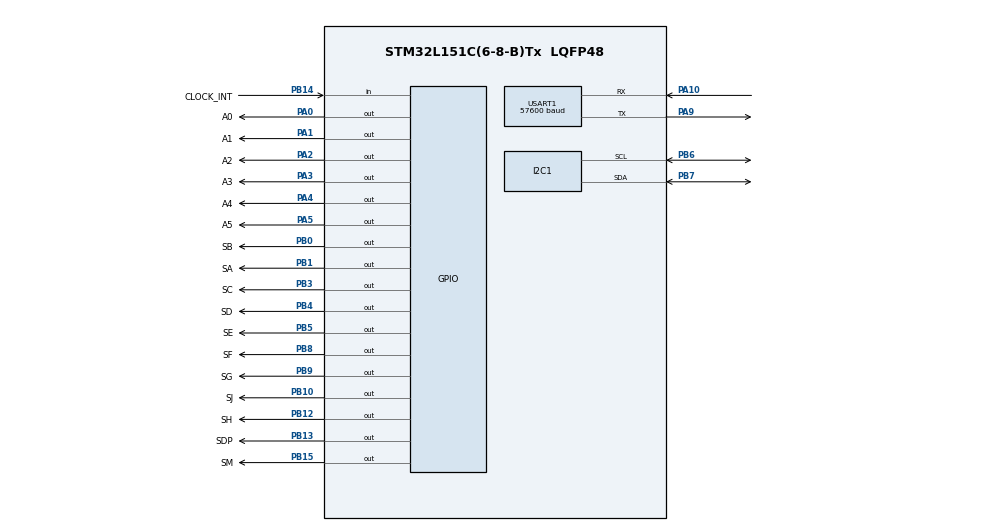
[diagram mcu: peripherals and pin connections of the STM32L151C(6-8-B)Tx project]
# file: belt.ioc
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FREERTOS.INCLUDE_vTaskDelayUntil=1
FREERTOS.Tasks01=defaultTask,0,128,StartDefaultTask,Default,NULL,Dynamic,NULL,NULL
FREERTOS.configTIMER_QUEUE_LENGTH=5
FREERTOS.configUSE_TIMERS=1
I2C1.I2C_Mode=I2C_Fast
Mcu.Family=STM32L1
Mcu.Name=STM32L151C(6-8-B)Tx
Mcu.Package=LQFP48
NVIC.PriorityGroup=NVIC_PRIORITYGROUP_4
NVIC.TIM6_IRQn=true\:15\:0\:false\:false\:true\:false\:false\:true\:true
NVIC.TimeBase=TIM6_IRQn
NVIC.TimeBaseIP=TIM6
NVIC.USART1_IRQn=true\:5\:0\:false\:false\:true\:true\:true\:true\:true
PA0-WKUP1.GPIO_Label=A0
PA0-WKUP1.Signal=GPIO_Output
PA1.GPIO_Label=A1
PA1.Signal=GPIO_Output
PA10.Mode=Asynchronous
PA10.Signal=USART1_RX
PA13.Mode=Serial_Wire
PA13.Signal=SYS_JTMS-SWDIO
PA14.Mode=Serial_Wire
PA14.Signal=SYS_JTCK-SWCLK
PA2.GPIO_Label=A2
PA2.Signal=GPIO_Output
PA3.GPIO_Label=A3
PA3.Signal=GPIO_Output
PA4.GPIO_Label=A4
PA4.Signal=GPIO_Output
PA5.GPIO_Label=A5
PA5.Signal=GPIO_Output
PA9.Mode=Asynchronous
PA9.Signal=USART1_TX
PB0.GPIO_Label=SB
PB0.Signal=GPIO_Output
PB1.GPIO_Label=SA
PB1.Signal=GPIO_Output
PB10.GPIO_Label=SJ
PB10.Signal=GPIO_Output
PB12.GPIO_Label=SH
PB12.Signal=GPIO_Output
PB13.GPIO_Label=SDP
PB13.Signal=GPIO_Output
PB14.GPIO_Label=CLOCK_INT
PB14.Signal=GPIO_Input
PB15.GPIO_Label=SM
PB15.Signal=GPIO_Output
PB3.GPIO_Label=SC
PB3.Signal=GPIO_Output
PB4.GPIO_Label=SD
PB4.Signal=GPIO_Output
PB5.GPIO_Label=SE
PB5.Signal=GPIO_Output
PB6.Mode=I2C
PB6.Signal=I2C1_SCL
PB7.Mode=I2C
PB7.Signal=I2C1_SDA
PB8.GPIO_Label=SF
PB8.Signal=GPIO_Output
PB9.GPIO_Label=SG
PB9.Signal=GPIO_Output
PH0-OSC_IN.Mode=HSE-External-Oscillator
PH0-OSC_IN.Signal=RCC_OSC_IN
PH1-OSC_OUT.Mode=HSE-External-Oscillator
PH1-OSC_OUT.Signal=RCC_OSC_OUT
ProjectManager.HeapSize=0x200
ProjectManager.StackSize=0x400
ProjectManager.TargetToolchain=Makefile
RCC.48MHZClocksFreq_Value=48000000
RCC.AHBFreq_Value=32000000
RCC.APB1Freq_Value=32000000
RCC.APB1TimFreq_Value=32000000
RCC.APB2Freq_Value=32000000
RCC.APB2TimFreq_Value=32000000
RCC.HCLKFreq_Value=32000000
RCC.HSE_VALUE=8000000
RCC.HSI_VALUE=16000000
RCC.LSE_VALUE=32768
RCC.MSI_VALUE=2097000
RCC.PLLDIV=RCC_PLL_DIV3
RCC.PLLMUL=RCC_PLL_MUL12
RCC.PLLSourceVirtual=RCC_PLLSOURCE_HSE
RCC.SYSCLKFreq_VALUE=32000000
RCC.SYSCLKSource=RCC_SYSCLKSOURCE_PLLCLK
RCC.VCOOutputFreq_Value=96000000
TIM7.Period=1000
TIM7.Prescaler=31
TIM7.TIM_MasterOutputTrigger=TIM_TRGO_RESET
USART1.BaudRate=57600
USART1.VirtualMode=VM_ASYNC
VP_FREERTOS_VS_CMSIS_V1.Mode=CMSIS_V1
VP_SYS_VS_tim6.Mode=TIM6
VP_TIM7_VS_ClockSourceINT.Mode=Enable_Timer
board=custom

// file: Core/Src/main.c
/* USER CODE BEGIN Header */
/**
  ******************************************************************************
  * @file           : main.c
  * @brief          : Main program body
  ******************************************************************************
  * @attention
  *
  * Copyright (c) 2025 STMicroelectronics.
  * All rights reserved.
  *
  * This software is licensed under terms that can be found in the LICENSE file
  * in the root directory of this software component.
  * If no LICENSE file comes with this software, it is provided AS-IS.
  *
  ******************************************************************************
  */
/* USER CODE END Header */
#include "main.h"
#include "cmsis_os.h"
#include "i2c.h"
#include "tim.h"
#include "usart.h"
#include "gpio.h"

/* USER CODE BEGIN Includes */
#include "LED_display.h"
#include "rtc.h"
#include "time_protocol.h"
#include <stdio.h>
/* USER CODE END Includes */

/* USER CODE BEGIN PD */
#define LED_DELAY 1000
/* USER CODE END PD */

void SystemClock_Config(void);
void MX_FREERTOS_Init(void);

int main(void)
{

  /* MCU Configuration--------------------------------------------------------*/

  /* Reset of all peripherals, Initializes the Flash interface and the Systick. */
  HAL_Init();

  /* Configure the system clock */
  SystemClock_Config();

  /* Initialize all configured peripherals */
  MX_GPIO_Init();
  MX_I2C1_Init();
  MX_TIM7_Init();
  MX_USART1_UART_Init();
  /* USER CODE BEGIN 2 */
  UARTbuf_init ();
  /* USER CODE END 2 */

  /* Call init function for freertos objects (in cmsis_os2.c) */
  MX_FREERTOS_Init();

  /* Start scheduler */
  osKernelStart();

  /* We should never get here as control is now taken by the scheduler */

  /* Infinite loop */
  while (1)
  {

  }
}

void SystemClock_Config(void)
{

  LL_FLASH_Enable64bitAccess();

  LL_FLASH_SetLatency(LL_FLASH_LATENCY_1);
  while(LL_FLASH_GetLatency()!= LL_FLASH_LATENCY_1)
  {
  }
  LL_PWR_SetRegulVoltageScaling(LL_PWR_REGU_VOLTAGE_SCALE1);
  while (LL_PWR_IsActiveFlag_VOS() != 0)
  {
  }
  LL_RCC_HSE_Enable();

   /* Wait till HSE is ready */
  while(LL_RCC_HSE_IsReady() != 1)
  {

  }
  LL_RCC_PLL_ConfigDomain_SYS(LL_RCC_PLLSOURCE_HSE, LL_RCC_PLL_MUL_12, LL_RCC_PLL_DIV_3);
  LL_RCC_PLL_Enable();

   /* Wait till PLL is ready */
  while(LL_RCC_PLL_IsReady() != 1)
  {

  }
  LL_RCC_SetAHBPrescaler(LL_RCC_SYSCLK_DIV_1);
  LL_RCC_SetAPB1Prescaler(LL_RCC_APB1_DIV_1);
  LL_RCC_SetAPB2Prescaler(LL_RCC_APB2_DIV_1);
  LL_RCC_SetSysClkSource(LL_RCC_SYS_CLKSOURCE_PLL);

   /* Wait till System clock is ready */
  while(LL_RCC_GetSysClkSource() != LL_RCC_SYS_CLKSOURCE_STATUS_PLL)
  {

  }
  LL_SetSystemCoreClock(32000000);

   /* Update the time base */
  if (HAL_InitTick (TICK_INT_PRIORITY) != HAL_OK)
  {
    Error_Handler();
  }
}

void HAL_TIM_PeriodElapsedCallback(TIM_HandleTypeDef *htim)
{
  if (htim->Instance == TIM6) {
    HAL_IncTick();
  }
}

void Error_Handler(void)
{
  __disable_irq();
  while (1)
  {
  }
}

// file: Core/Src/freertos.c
/* USER CODE BEGIN Header */
/**
  ******************************************************************************
  * File Name          : freertos.c
  * Description        : Code for freertos applications
  ******************************************************************************
  * @attention
  *
  * Copyright (c) 2025 STMicroelectronics.
  * All rights reserved.
  *
  * This software is licensed under terms that can be found in the LICENSE file
  * in the root directory of this software component.
  * If no LICENSE file comes with this software, it is provided AS-IS.
  *
  ******************************************************************************
  */
/* USER CODE END Header */

#include "FreeRTOS.h"
#include "task.h"
#include "main.h"
#include "cmsis_os.h"

/* USER CODE BEGIN Includes */
#include "rtc.h"
#include "typedef.h"
#include "usart.h"
#include "LED_display.h"
#include "time_protocol.h"
#include <stdio.h>
/* USER CODE END Includes */

/* USER CODE BEGIN Variables */
osTimerId osProgTimerI2C_timeout;

osThreadId MessagingDS3231TaskHandle;
osThreadId SetupTimeonBoardTaskHandle;
osThreadId ParseUARTmsgTaskHandle;

osMutexId I2CmutexHandle; //мьютекс блокировки передачи команд ячейкам

uint8_t timeout_flag = OFF;
__IO uint32_t UNIXtimeDS3231 = 0;
/* USER CODE END Variables */
osThreadId defaultTaskHandle;

/* USER CODE BEGIN FunctionPrototypes */
void ProgTimerI2C_timeoutCallback (void const *argument);

void SetupTimeonBoard(void const * argument);
void LaunchMessagingDS3231 (void const * argument);
void ParseUARTmsg  (void const * argument);
/* USER CODE END FunctionPrototypes */

void StartDefaultTask(void const * argument);

void MX_FREERTOS_Init(void); /* (MISRA C 2004 rule 8.1) */

/* GetIdleTaskMemory prototype (linked to static allocation support) */
void vApplicationGetIdleTaskMemory( StaticTask_t **ppxIdleTaskTCBBuffer, StackType_t **ppxIdleTaskStackBuffer, uint32_t *pulIdleTaskStackSize );

/* GetTimerTaskMemory prototype (linked to static allocation support) */
void vApplicationGetTimerTaskMemory( StaticTask_t **ppxTimerTaskTCBBuffer, StackType_t **ppxTimerTaskStackBuffer, uint32_t *pulTimerTaskStackSize );

/* USER CODE BEGIN GET_IDLE_TASK_MEMORY */
static StaticTask_t xIdleTaskTCBBuffer;
static StackType_t xIdleStack[configMINIMAL_STACK_SIZE];

void vApplicationGetIdleTaskMemory( StaticTask_t **ppxIdleTaskTCBBuffer, StackType_t **ppxIdleTaskStackBuffer, uint32_t *pulIdleTaskStackSize )
{
  *ppxIdleTaskTCBBuffer = &xIdleTaskTCBBuffer;
  *ppxIdleTaskStackBuffer = &xIdleStack[0];
  *pulIdleTaskStackSize = configMINIMAL_STACK_SIZE;
  /* place for user code */
}
/* USER CODE END GET_IDLE_TASK_MEMORY */

/* USER CODE BEGIN GET_TIMER_TASK_MEMORY */
static StaticTask_t xTimerTaskTCBBuffer;
static StackType_t xTimerStack[configTIMER_TASK_STACK_DEPTH];

void vApplicationGetTimerTaskMemory( StaticTask_t **ppxTimerTaskTCBBuffer, StackType_t **ppxTimerTaskStackBuffer, uint32_t *pulTimerTaskStackSize )
{
  *ppxTimerTaskTCBBuffer = &xTimerTaskTCBBuffer;
  *ppxTimerTaskStackBuffer = &xTimerStack[0];
  *pulTimerTaskStackSize = configTIMER_TASK_STACK_DEPTH;
  /* place for user code */
}
/* USER CODE END GET_TIMER_TASK_MEMORY */

void MX_FREERTOS_Init(void) {

  /* USER CODE BEGIN RTOS_MUTEX */
  osMutexDef (I2CmutexHandle);
	I2CmutexHandle = osMutexCreate(osMutex (I2CmutexHandle));
  /* USER CODE END RTOS_MUTEX */

  /* USER CODE BEGIN RTOS_TIMERS */
  osTimerDef (TimerI2C_timeout, ProgTimerI2C_timeoutCallback);
	osProgTimerI2C_timeout = osTimerCreate(osTimer (TimerI2C_timeout), osTimerOnce, NULL);
  /* USER CODE END RTOS_TIMERS */

  /* Create the thread(s) */
  /* definition and creation of defaultTask */
  osThreadDef(defaultTask, StartDefaultTask, osPriorityIdle, 0, 128);
  defaultTaskHandle = osThreadCreate(osThread(defaultTask), NULL);

  /* USER CODE BEGIN RTOS_THREADS */

  osThreadDef(TaskSetupTimeonBoard, SetupTimeonBoard, osPriorityNormal , 0, 128);
  SetupTimeonBoardTaskHandle = osThreadCreate(osThread(TaskSetupTimeonBoard), NULL);

  osThreadDef(TaskMessagingDS3231, LaunchMessagingDS3231, osPriorityNormal , 0, 128);
  MessagingDS3231TaskHandle = osThreadCreate(osThread(TaskMessagingDS3231), NULL);

  osThreadDef(TaskParseUARTmsg, ParseUARTmsg, osPriorityNormal , 0, 128);
  ParseUARTmsgTaskHandle = osThreadCreate(osThread(TaskParseUARTmsg), NULL);
  /* USER CODE END RTOS_THREADS */

}

void StartDefaultTask(void const * argument)
{
  /* USER CODE BEGIN StartDefaultTask */
  /* Infinite loop */
  for(;;)
  {
    osDelay(100);
  }
  /* USER CODE END StartDefaultTask */
}

/* USER CODE BEGIN Application */
//---------------------------------------------------------------------------//
void LaunchMessagingDS3231 (void const * argument)
{
  uint32_t tickcount = osKernelSysTick();

  for(;;)
  {
    if (osMutexWait (I2CmutexHandle, 20) == osOK)
		{
        timeout_flag = OFF;
        osTimerStart (osProgTimerI2C_timeout, I2C_DELAY);
        UNIXtimeDS3231 = GetUnixTime_from_DS3231();
        osMutexRelease (I2CmutexHandle);
        osDelayUntil (&tickcount, 1000);
    }
  }
}

//---------------------------------------------------------------------------//
void SetupTimeonBoard (void const * argument)
{
  for(;;)
  {
    if (UNIXtimeDS3231 > 0)
    {
      LED_data_output ((char *)return_HandleTimeBuff(), NUMB_DIGITS_BOARD);
    }
    osDelay (3);
  }
}

//---------------------------------------------------------------------------//
void ParseUARTmsg (void const * argument)
{
  __IO uint32_t TimeUART = 0;
  static uint8_t flagGetMsg = NO_MSG;

  for(;;)
  {
    if (flagGetMsg == NO_MSG)
    {
      if (check_ring_buffer () == GET_MSG) //проверка кольцевого буффера
      {
        if ((TimeUART = return_UNIXtimeNTP()) > 0) //возвращает UNIX-время, полученное от ntp сервера
        {
          //если UNIX-время от ntp-сервера не равно времени от DS3231 и отличается больше, чем на единицу
          if ((UNIXtimeDS3231 != TimeUART) && ((TimeUART-UNIXtimeDS3231)>1))
          {

            #ifdef __USE_DBG
	 	        //  snprintf (DBG_buffer,  BUFFER_SIZE, "DS3231=%ld,NTP=%ld\r\n", UNIXtimeDS3231, TimeUART);
      	    //  DBG_PutString(DBG_buffer);
	          #endif
            flagGetMsg = GET_MSG; //установка флага получения сообщения с данными времени от ntp-сервера
          }
        }
      }
      osDelay (3);
    }
    else
    {
      if (osMutexWait (I2CmutexHandle, 20) == osOK)
		  {
        flagGetMsg = NO_MSG;
        timeout_flag = OFF; //сброс флага таймаута I2C
        osTimerStart (osProgTimerI2C_timeout, I2C_DELAY); //запуск таймера таймаута I2C
        PrepareSendTimedata_to_DS3231(TimeUART); //подготовка и передача данных времени в DS3231
        osMutexRelease (I2CmutexHandle); //освобождение мьютекса
        osDelay (1000);
      }
    }
  }
}

//---------------------------------------------------------------------------//
void ProgTimerI2C_timeoutCallback (void const *argument)
{
  timeout_flag = ON;
}

//---------------------------------------------------------------------------//
uint8_t return_flag_timeout (void)
{
  return timeout_flag;
}
/* USER CODE END Application */
